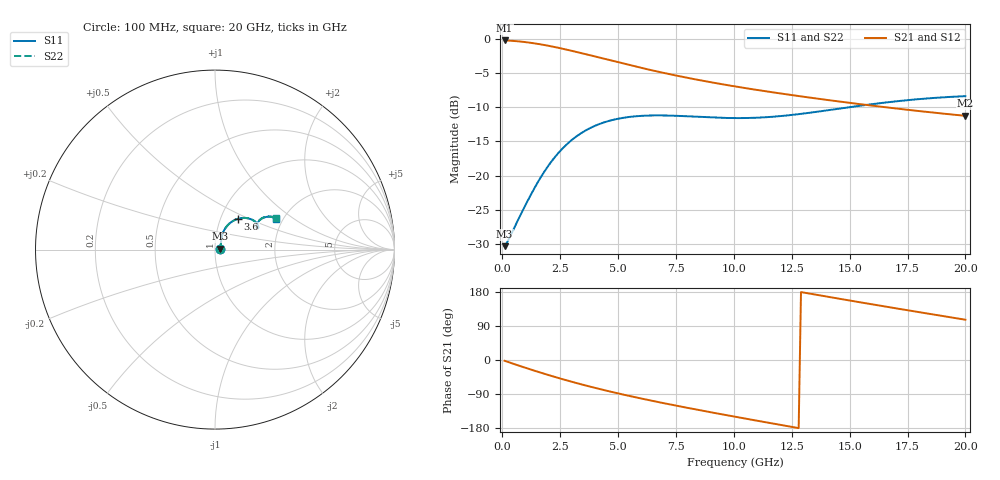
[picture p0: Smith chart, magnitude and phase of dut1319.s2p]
! Touchstone file exported from HFSS 2024.1.0
!  File:  C:/UserFiles/LocalFiles/RDL_TSV_Batchsim/temp_RDL_TSV_1319_1780386439.aedt
!  Generated:  04:02:47 PM Jun  2, 2026
!  Design:  RDL_TSV
!  Project:  temp_RDL_TSV_1319_1780386439
!  Setup:  Setup1
!  Solution:  Sweep
! Variables:
!  dtsv = 8.97um
!  hbump = 3um
!  htsv = 95.57um
!  ldown = 602.79um
!  lrdl = 413.85um
!  p = 40
!  p1 = 40.82um
!  rhole = 10um
!  subl = 3463.77um
!  t = 450um
!  tdown = 2.57um
!  trdl = 3.96um
!  viad = 10um
!  wdown = 13.72um
!  wrdl = 12.13um
!  xbump = 18um
# GHz S MA R 50.000000
! Terminal data exported
! Port[1] = TM1_1_T1
! Port[2] = TM1_4_T1
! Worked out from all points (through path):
!   200 points, 100 MHz to 20 GHz, reference 50 ohm
!   highest |S21| = -0.27 dB at 100 MHz (marker M1); lowest = -11.3 dB at 20 GHz (marker M2)
!   group delay of S21, straight-line fit = 33.4 ps
!   lowest |S11| = -30.3 dB at 100 MHz (marker M3), VSWR 1.06, Z = 53.1 + j0.58 ohm
!   |S11| at or under -10 dB: start of sweep to 15.01 GHz
!   |S22| runs from -30.3 to -8.4 dB; largest |S21 - S12| = 1.6e-14
!   S11 on the Smith chart (normalised r, x): 100 MHz: 1.06, +0.01; 3.6 GHz: 1.21, +0.43; 20 GHz: 1.84, +0.74
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0.1  0.03061 10.3  0.9696 -2.1  0.9696 -2.1  0.03061 10.3
! Gamma 0 0 0 0
! Port Impedance 50 0 50 0
0.5  0.04114 38.3  0.9617 -10.5  0.9617 -10.5  0.04114 38.3
0.9  0.05647 53.0  0.9474 -18.6  0.9474 -18.6  0.05647 53.0
1.4  0.08181 62.3  0.9231 -28.4  0.9231 -28.4  0.0818 62.3
1.8  0.1061 64.7  0.8993 -36.1  0.8993 -36.1  0.106 64.7
2.2  0.132 64.2  0.8727 -43.5  0.8727 -43.5  0.132 64.2
2.6  0.1578 62.0  0.8442 -50.6  0.8442 -50.6  0.1578 62.0
3  0.1822 58.8  0.8148 -57.4  0.8148 -57.4  0.1821 58.9
3.5  0.209 54.3  0.7776 -65.7  0.7776 -65.7  0.209 54.4
3.6  0.2138 53.4  0.7702 -67.3  0.7702 -67.3  0.2138 53.4
4.3  0.2418 46.9  0.7197 -78.0  0.7197 -78.0  0.2418 47.0
5.2  0.2641 39.5  0.6596 -90.9  0.6596 -90.9  0.2641 39.6
6  0.2732 34.2  0.6121 -101.6  0.6121 -101.6  0.2732 34.3
6.8  0.2753 30.3  0.5704 -111.8  0.5704 -111.8  0.2753 30.4
8.4  0.269 26.4  0.5021 -130.9  0.5021 -130.9  0.269 26.6
10.1  0.2632 27.2  0.4466 -150.2  0.4466 -150.2  0.2631 27.4
11.7  0.2693 30.3  0.4052 -167.8  0.4052 -167.8  0.2693 30.5
13.4  0.2897 32.9  0.3689 173.9  0.3689 173.9  0.2899 33.2
15.1  0.3178 33.4  0.3383 155.9  0.3383 155.9  0.3183 33.7
16.7  0.3442 32.1  0.3136 139.4  0.3136 139.4  0.3449 32.4
18.3  0.3655 29.7  0.2924 123.2  0.2924 123.2  0.3665 30.0
20  0.3804 26.7  0.2734 106.3  0.2734 106.3  0.3816 27.0
